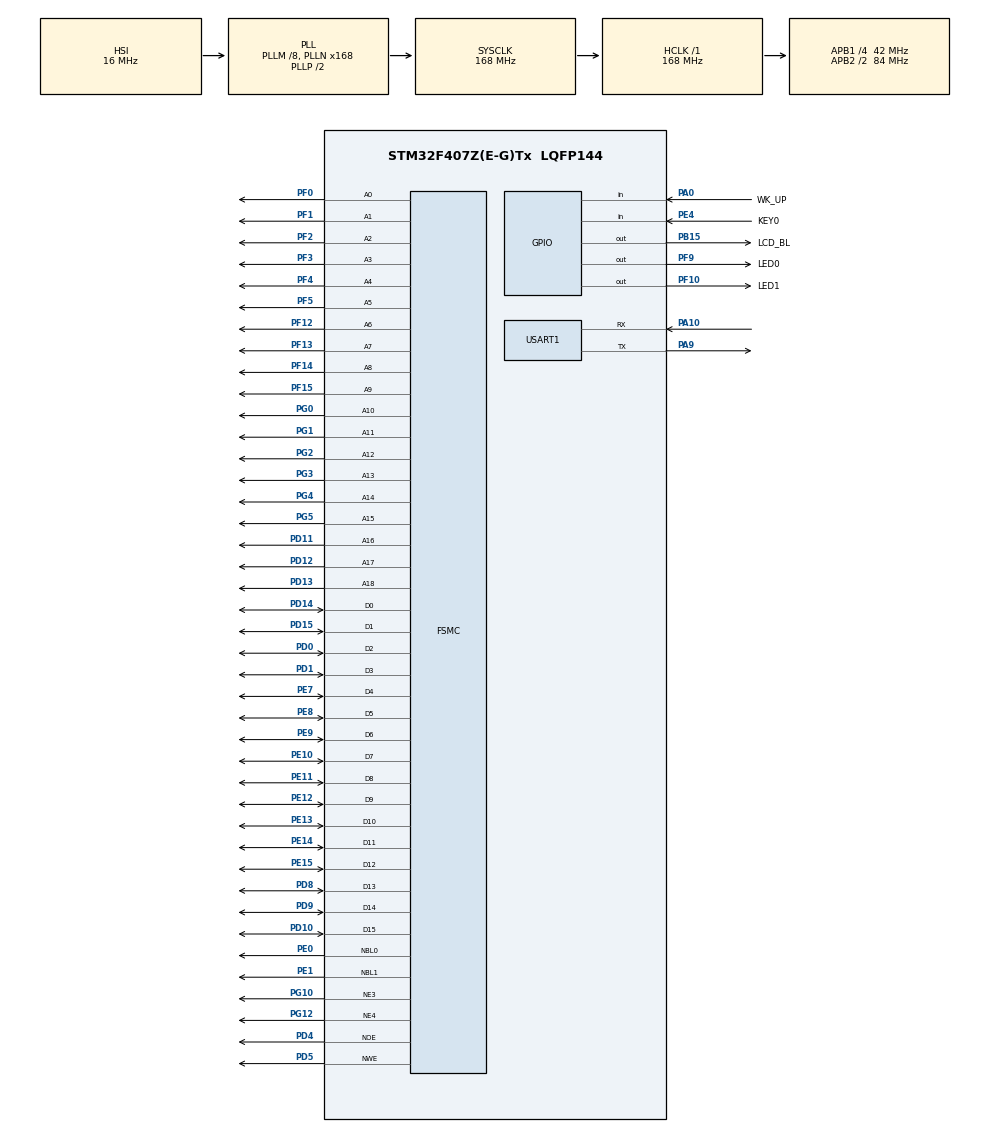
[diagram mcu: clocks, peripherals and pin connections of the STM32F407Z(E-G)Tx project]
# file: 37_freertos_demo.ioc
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FREERTOS.Tasks01=task01,24,256,mytask01,Default,NULL,Dynamic,NULL,NULL;task02,24,256,mytask02,Default,NULL,Dynamic,NULL,NULL
FSMC.AddressSetupTime1=15
FSMC.AddressSetupTime2=0x02
FSMC.BusTurnAroundDuration1=0
FSMC.DataSetupTime1=60
FSMC.DataSetupTime2=0x08
FSMC.ExtendedAddressSetupTime1=9
FSMC.ExtendedBusTurnAroundDuration1=0
FSMC.ExtendedDataSetupTime1=9
FSMC.ExtendedMode1=FSMC_EXTENDED_MODE_ENABLE
FSMC.WriteOperation2=FSMC_WRITE_OPERATION_ENABLE
Mcu.Family=STM32F4
Mcu.Name=STM32F407Z(E-G)Tx
Mcu.Package=LQFP144
NVIC.PriorityGroup=NVIC_PRIORITYGROUP_4
NVIC.TIM1_UP_TIM10_IRQn=true\:15\:0\:false\:false\:true\:false\:false\:true\:true
NVIC.TimeBase=TIM1_UP_TIM10_IRQn
NVIC.TimeBaseIP=TIM1
NVIC.USART1_IRQn=true\:5\:0\:true\:false\:true\:true\:true\:true\:true
PA0-WKUP.GPIO_Label=WK_UP
PA0-WKUP.GPIO_PuPd=GPIO_PULLDOWN
PA0-WKUP.Signal=GPIO_Input
PA10.GPIO_PuPd=GPIO_PULLUP
PA10.Mode=Asynchronous
PA10.Signal=USART1_RX
PA13.Mode=Serial_Wire
PA13.Signal=SYS_JTMS-SWDIO
PA14.Mode=Serial_Wire
PA14.Signal=SYS_JTCK-SWCLK
PA9.GPIO_PuPd=GPIO_PULLUP
PA9.Mode=Asynchronous
PA9.Signal=USART1_TX
PB15.GPIO_Label=LCD_BL
PB15.GPIO_PuPd=GPIO_PULLUP
PB15.GPIO_Speed=GPIO_SPEED_FREQ_VERY_HIGH
PB15.PinState=GPIO_PIN_SET
PB15.Signal=GPIO_Output
PC14-OSC32_IN.Mode=LSE-External-Oscillator
PC14-OSC32_IN.Signal=RCC_OSC32_IN
PC15-OSC32_OUT.Mode=LSE-External-Oscillator
PC15-OSC32_OUT.Signal=RCC_OSC32_OUT
PD0.Signal=FSMC_D2_DA2
PD1.Signal=FSMC_D3_DA3
PD10.Signal=FSMC_D15_DA15
PD11.Signal=FSMC_A16_CLE
PD12.Signal=FSMC_A17_ALE
PD13.Signal=FSMC_A18
PD14.Signal=FSMC_D0_DA0
PD15.Signal=FSMC_D1_DA1
PD4.Signal=FSMC_NOE
PD5.Signal=FSMC_NWE
PD8.Signal=FSMC_D13_DA13
PD9.Signal=FSMC_D14_DA14
PE0.Signal=FSMC_NBL0
PE1.Signal=FSMC_NBL1
PE10.Signal=FSMC_D7_DA7
PE11.Signal=FSMC_D8_DA8
PE12.Signal=FSMC_D9_DA9
PE13.Signal=FSMC_D10_DA10
PE14.Signal=FSMC_D11_DA11
PE15.Signal=FSMC_D12_DA12
PE4.GPIO_Label=KEY0
PE4.GPIO_PuPd=GPIO_PULLDOWN
PE4.Signal=GPIO_Input
PE7.Signal=FSMC_D4_DA4
PE8.Signal=FSMC_D5_DA5
PE9.Signal=FSMC_D6_DA6
PF0.Signal=FSMC_A0
PF1.Signal=FSMC_A1
PF10.GPIO_Label=LED1
PF10.GPIO_PuPd=GPIO_PULLDOWN
PF10.GPIO_Speed=GPIO_SPEED_FREQ_VERY_HIGH
PF10.PinState=GPIO_PIN_SET
PF10.Signal=GPIO_Output
PF12.Signal=FSMC_A6
PF13.Signal=FSMC_A7
PF14.Signal=FSMC_A8
PF15.Signal=FSMC_A9
PF2.Signal=FSMC_A2
PF3.Signal=FSMC_A3
PF4.Signal=FSMC_A4
PF5.Signal=FSMC_A5
PF9.GPIO_Label=LED0
PF9.GPIO_PuPd=GPIO_PULLDOWN
PF9.GPIO_Speed=GPIO_SPEED_FREQ_VERY_HIGH
PF9.PinState=GPIO_PIN_SET
PF9.Signal=GPIO_Output
PG0.Signal=FSMC_A10
PG1.Signal=FSMC_A11
PG10.Mode=NorPsramChipSelect3_2
PG10.Signal=FSMC_NE3
PG12.Mode=NorPsramChipSelect4_1
PG12.Signal=FSMC_NE4
PG2.Signal=FSMC_A12
PG3.Signal=FSMC_A13
PG4.Signal=FSMC_A14
PG5.Signal=FSMC_A15
PH0-OSC_IN.Mode=HSE-External-Oscillator
PH0-OSC_IN.Signal=RCC_OSC_IN
PH1-OSC_OUT.Mode=HSE-External-Oscillator
PH1-OSC_OUT.Signal=RCC_OSC_OUT
ProjectManager.HeapSize=0x200
ProjectManager.StackSize=0x400
ProjectManager.TargetToolchain=STM32CubeIDE
RCC.48MHZClocksFreq_Value=84000000
RCC.AHBFreq_Value=168000000
RCC.APB1CLKDivider=RCC_HCLK_DIV4
RCC.APB1Freq_Value=42000000
RCC.APB1TimFreq_Value=84000000
RCC.APB2CLKDivider=RCC_HCLK_DIV2
RCC.APB2Freq_Value=84000000
RCC.APB2TimFreq_Value=168000000
RCC.CortexFreq_Value=168000000
RCC.HCLKFreq_Value=168000000
RCC.HSE_VALUE=25000000
RCC.HSI_VALUE=16000000
RCC.PLLM=8
RCC.PLLN=168
RCC.SYSCLKFreq_VALUE=168000000
RCC.SYSCLKSource=RCC_SYSCLKSOURCE_PLLCLK
RCC.VCOOutputFreq_Value=336000000
SH.FSMC_A0.0=FSMC_A0,19b-a2
SH.FSMC_A1.0=FSMC_A1,19b-a2
SH.FSMC_A10.0=FSMC_A10,19b-a2
SH.FSMC_A11.0=FSMC_A11,19b-a2
SH.FSMC_A12.0=FSMC_A12,19b-a2
SH.FSMC_A13.0=FSMC_A13,19b-a2
SH.FSMC_A14.0=FSMC_A14,19b-a2
SH.FSMC_A15.0=FSMC_A15,19b-a2
SH.FSMC_A16_CLE.0=FSMC_A16,19b-a2
SH.FSMC_A17_ALE.0=FSMC_A17,19b-a2
SH.FSMC_A18.0=FSMC_A18,19b-a2
SH.FSMC_A2.0=FSMC_A2,19b-a2
SH.FSMC_A3.0=FSMC_A3,19b-a2
SH.FSMC_A4.0=FSMC_A4,19b-a2
SH.FSMC_A5.0=FSMC_A5,19b-a2
SH.FSMC_A6.0=FSMC_A6,A6_1
SH.FSMC_A6.1=FSMC_A6,19b-a2
SH.FSMC_A7.0=FSMC_A7,19b-a2
SH.FSMC_A8.0=FSMC_A8,19b-a2
SH.FSMC_A9.0=FSMC_A9,19b-a2
SH.FSMC_D0_DA0.0=FSMC_D0,16b-d1
SH.FSMC_D0_DA0.1=FSMC_D0,16b-d2
SH.FSMC_D10_DA10.0=FSMC_D10,16b-d1
SH.FSMC_D10_DA10.1=FSMC_D10,16b-d2
SH.FSMC_D11_DA11.0=FSMC_D11,16b-d1
SH.FSMC_D11_DA11.1=FSMC_D11,16b-d2
SH.FSMC_D12_DA12.0=FSMC_D12,16b-d1
SH.FSMC_D12_DA12.1=FSMC_D12,16b-d2
SH.FSMC_D13_DA13.0=FSMC_D13,16b-d1
SH.FSMC_D13_DA13.1=FSMC_D13,16b-d2
SH.FSMC_D14_DA14.0=FSMC_D14,16b-d1
SH.FSMC_D14_DA14.1=FSMC_D14,16b-d2
SH.FSMC_D15_DA15.0=FSMC_D15,16b-d1
SH.FSMC_D15_DA15.1=FSMC_D15,16b-d2
SH.FSMC_D1_DA1.0=FSMC_D1,16b-d1
SH.FSMC_D1_DA1.1=FSMC_D1,16b-d2
SH.FSMC_D2_DA2.0=FSMC_D2,16b-d1
SH.FSMC_D2_DA2.1=FSMC_D2,16b-d2
SH.FSMC_D3_DA3.0=FSMC_D3,16b-d1
SH.FSMC_D3_DA3.1=FSMC_D3,16b-d2
SH.FSMC_D4_DA4.0=FSMC_D4,16b-d1
SH.FSMC_D4_DA4.1=FSMC_D4,16b-d2
SH.FSMC_D5_DA5.0=FSMC_D5,16b-d1
SH.FSMC_D5_DA5.1=FSMC_D5,16b-d2
SH.FSMC_D6_DA6.0=FSMC_D6,16b-d1
SH.FSMC_D6_DA6.1=FSMC_D6,16b-d2
SH.FSMC_D7_DA7.0=FSMC_D7,16b-d1
SH.FSMC_D7_DA7.1=FSMC_D7,16b-d2
SH.FSMC_D8_DA8.0=FSMC_D8,16b-d1
SH.FSMC_D8_DA8.1=FSMC_D8,16b-d2
SH.FSMC_D9_DA9.0=FSMC_D9,16b-d1
SH.FSMC_D9_DA9.1=FSMC_D9,16b-d2
SH.FSMC_NBL0.0=FSMC_NBL0,2ByteEnable2
SH.FSMC_NBL1.0=FSMC_NBL1,2ByteEnable2
SH.FSMC_NOE.0=FSMC_NOE,Lcd1
SH.FSMC_NOE.1=FSMC_NOE,Sram2
SH.FSMC_NWE.0=FSMC_NWE,Lcd1
SH.FSMC_NWE.1=FSMC_NWE,Sram2
USART1.VirtualMode=VM_ASYNC
VP_FREERTOS_VS_CMSIS_V2.Mode=CMSIS_V2
VP_SYS_VS_tim1.Mode=TIM1
board=custom

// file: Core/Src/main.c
/* USER CODE BEGIN Header */
/**
 ****************************************************************************************************
 * @file        main.c
 * @author      ALIENTEK
 * @brief       Freertos code
 * @license     Copyright (C) 2020-2032, ALIENTEK
 ****************************************************************************************************
 * @attention
 *
 * platform     : ALIENTEK M144-STM32F407 board
 * website      : https://www.alientek.com
 * forum        : http://www.openedv.com/forum.php
 *
 * change logs  :
 * version    data    notes
 * V1.0     20240410  the first version
 *
 ****************************************************************************************************
 */
/* USER CODE END Header */
#include "main.h"
#include "cmsis_os.h"
#include "usart.h"
#include "gpio.h"
#include "fsmc.h"

/* USER CODE BEGIN Includes */
#include "../../BSP/LED/led.h"
#include "../../BSP/KEY/key.h"
#include "../../BSP/LCD/lcd.h"
#include "../../SYSTEM/delay/delay.h"
#include "../../ATK_Middlewares/MALLOC/malloc.h"
/* USER CODE END Includes */

void SystemClock_Config(void);
void MX_FREERTOS_Init(void);

int main(void)
{

  /* MCU Configuration--------------------------------------------------------*/

  /* Reset of all peripherals, Initializes the Flash interface and the Systick. */
  HAL_Init();

  /* Configure the system clock */
  SystemClock_Config();

  /* USER CODE BEGIN SysInit */
  delay_init(168);
  /* USER CODE END SysInit */

  /* Initialize all configured peripherals */
  MX_GPIO_Init();
  MX_USART1_UART_Init();
  MX_FSMC_Init();
  /* USER CODE BEGIN 2 */

  lcd_init();
  my_mem_init(SRAMIN);                /* Initialize the internal SRAM memory pool */

  lcd_show_string(30, 50, 200, 16, 16, "STM32", RED);
  lcd_show_string(30, 70, 200, 16, 16, "FreeRTOS TEST", RED);
  lcd_show_string(30, 90, 200, 16, 16, "ATOM@ALIENTEK", RED);

  /* USER CODE END 2 */

  /* Init scheduler */
  osKernelInitialize();

  /* Call init function for freertos objects (in freertos.c) */
  MX_FREERTOS_Init();

  /* Start scheduler */
  osKernelStart();

  /* We should never get here as control is now taken by the scheduler */
  /* Infinite loop */
  while (1)
  {

  }
}

void SystemClock_Config(void)
{
  RCC_OscInitTypeDef RCC_OscInitStruct = {0};
  RCC_ClkInitTypeDef RCC_ClkInitStruct = {0};

  /** Configure the main internal regulator output voltage
  */
  __HAL_RCC_PWR_CLK_ENABLE();
  __HAL_PWR_VOLTAGESCALING_CONFIG(PWR_REGULATOR_VOLTAGE_SCALE1);

  /** Initializes the RCC Oscillators according to the specified parameters
  * in the RCC_OscInitTypeDef structure.
  */
  RCC_OscInitStruct.OscillatorType = RCC_OSCILLATORTYPE_HSI;
  RCC_OscInitStruct.HSIState = RCC_HSI_ON;
  RCC_OscInitStruct.HSICalibrationValue = RCC_HSICALIBRATION_DEFAULT;
  RCC_OscInitStruct.PLL.PLLState = RCC_PLL_ON;
  RCC_OscInitStruct.PLL.PLLSource = RCC_PLLSOURCE_HSI;
  RCC_OscInitStruct.PLL.PLLM = 8;
  RCC_OscInitStruct.PLL.PLLN = 168;
  RCC_OscInitStruct.PLL.PLLP = RCC_PLLP_DIV2;
  RCC_OscInitStruct.PLL.PLLQ = 4;
  if (HAL_RCC_OscConfig(&RCC_OscInitStruct) != HAL_OK)
  {
    Error_Handler();
  }

  /** Initializes the CPU, AHB and APB buses clocks
  */
  RCC_ClkInitStruct.ClockType = RCC_CLOCKTYPE_HCLK|RCC_CLOCKTYPE_SYSCLK
                              |RCC_CLOCKTYPE_PCLK1|RCC_CLOCKTYPE_PCLK2;
  RCC_ClkInitStruct.SYSCLKSource = RCC_SYSCLKSOURCE_PLLCLK;
  RCC_ClkInitStruct.AHBCLKDivider = RCC_SYSCLK_DIV1;
  RCC_ClkInitStruct.APB1CLKDivider = RCC_HCLK_DIV4;
  RCC_ClkInitStruct.APB2CLKDivider = RCC_HCLK_DIV2;

  if (HAL_RCC_ClockConfig(&RCC_ClkInitStruct, FLASH_LATENCY_5) != HAL_OK)
  {
    Error_Handler();
  }
}

void HAL_TIM_PeriodElapsedCallback(TIM_HandleTypeDef *htim)
{
  if (htim->Instance == TIM1) {
    HAL_IncTick();
  }
}

void Error_Handler(void)
{
  __disable_irq();
  while (1)
  {
  }
}

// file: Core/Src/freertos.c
/* USER CODE BEGIN Header */
/**
  ******************************************************************************
  * File Name          : freertos.c
  * Description        : Code for freertos applications
  ******************************************************************************
  * @attention
  *
  * Copyright (c) 2024 STMicroelectronics.
  * All rights reserved.
  *
  * This software is licensed under terms that can be found in the LICENSE file
  * in the root directory of this software component.
  * If no LICENSE file comes with this software, it is provided AS-IS.
  *
  ******************************************************************************
  */
/* USER CODE END Header */

#include "FreeRTOS.h"
#include "task.h"
#include "main.h"
#include "cmsis_os.h"

/* USER CODE BEGIN Includes */
#include "led.h"
#include "usart.h"
/* USER CODE END Includes */

/* Definitions for task01 */
osThreadId_t task01Handle;
const osThreadAttr_t task01_attributes = {
  .name = "task01",
  .stack_size = 256 * 4,
  .priority = (osPriority_t) osPriorityNormal,
};
/* Definitions for task02 */
osThreadId_t task02Handle;
const osThreadAttr_t task02_attributes = {
  .name = "task02",
  .stack_size = 256 * 4,
  .priority = (osPriority_t) osPriorityNormal,
};

void mytask01(void *argument);
void mytask02(void *argument);

void MX_FREERTOS_Init(void); /* (MISRA C 2004 rule 8.1) */

void MX_FREERTOS_Init(void) {

  /* Create the thread(s) */
  /* creation of task01 */
  task01Handle = osThreadNew(mytask01, NULL, &task01_attributes);

  /* creation of task02 */
  task02Handle = osThreadNew(mytask02, NULL, &task02_attributes);

}

void mytask01(void *argument)
{
  /* USER CODE BEGIN mytask01 */
  /* Infinite loop */
	while(1)
	{
		LED0_TOGGLE();
		vTaskDelay(1000);
	}
  /* USER CODE END mytask01 */
}

void mytask02(void *argument)
{
  /* USER CODE BEGIN mytask02 */
  /* Infinite loop */
	float num_float = 0.0;
	while(1)
	{
		num_float += 0.01;
		printf("num_float:%.2f\r\n",num_float);
		vTaskDelay(500);
	}
  /* USER CODE END mytask02 */
}
